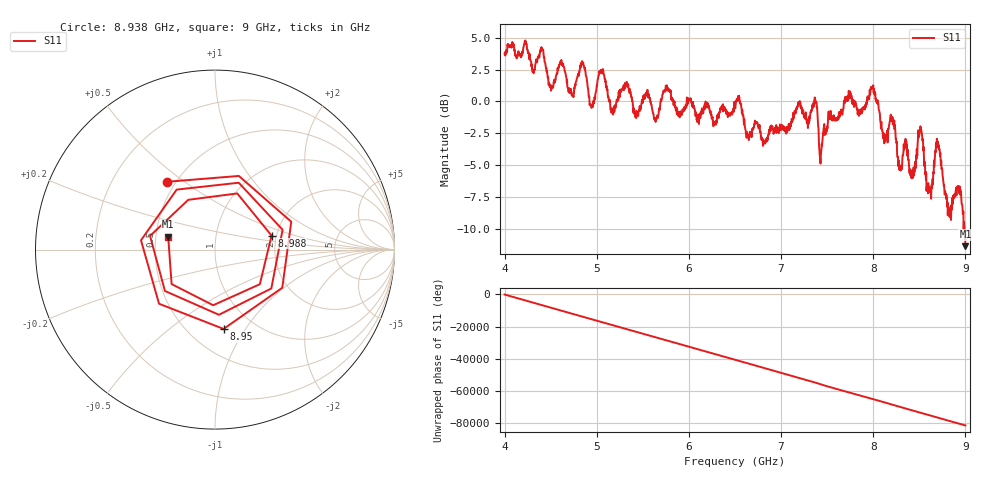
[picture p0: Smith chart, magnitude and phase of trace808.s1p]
! Created with skrf 1.8.0 (http://scikit-rf.org).
# Hz S RI R 50.0
!freq ReS11 ImS11
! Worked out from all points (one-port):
!   1601 points, 4 GHz to 9 GHz, reference 50 ohm
!   lowest |S11| = -11.4 dB at 9 GHz (marker M1), VSWR 1.74, Z = 29.1 + j4.51 ohm
!   |S11| at or under -10 dB: 8.980918 GHz to 8.981198 GHz (280.3 kHz wide, 0.00312 % of centre); 8.990793 GHz to end of sweep
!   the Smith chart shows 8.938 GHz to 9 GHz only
!   S11 on the Smith chart (normalised r, x): 8.938 GHz: 0.45, +0.43; 8.95 GHz: 0.73, -0.80; 8.988 GHz: 1.88, +0.33; 9 GHz: 0.58, +0.09
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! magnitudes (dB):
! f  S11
! 4 GHz  3.7
! 4.503 GHz  0.8
! 4.625 GHz  3.0
! 4.728 GHz  0.5
! 4.853 GHz  3.0
! 4.947 GHz  -0.4
! 5.047 GHz  2.5
! 5.169 GHz  -0.9
! 5.25 GHz  0.9
! 5.875 GHz  -1.0
! 6.5 GHz  -0.4
! 6.822 GHz  -3.2
! 7.125 GHz  -1.4
! 7.366 GHz  0.3
! 7.434 GHz  -4.0
! 7.75 GHz  0.8
! 7.997 GHz  1.1
! 8.109 GHz  -2.8
! 8.375 GHz  -3.8
! 8.428 GHz  -5.6
! 8.512 GHz  -2.0
! 8.603 GHz  -6.9
! 8.697 GHz  -3.4
! 8.822 GHz  -9.0
! 8.938 GHz  -6.7
! 8.95 GHz  -7.0
! 8.988 GHz  -9.8
! 9 GHz  -11.4
